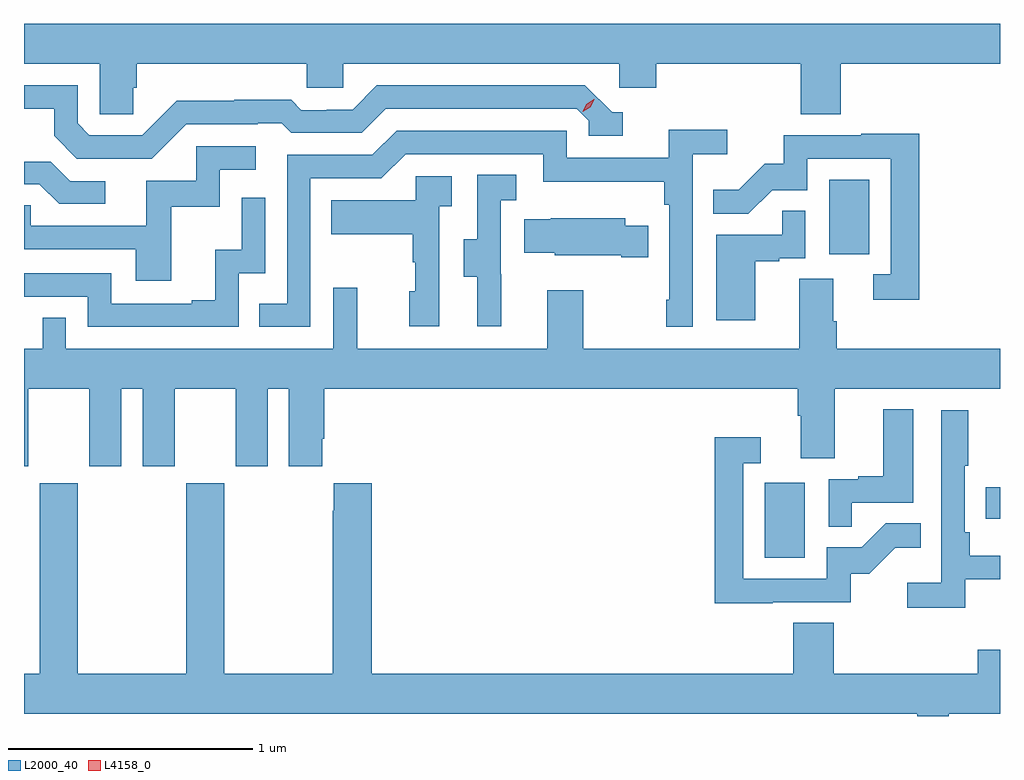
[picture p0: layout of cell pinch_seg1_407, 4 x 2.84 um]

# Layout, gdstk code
import gdstk
lib = gdstk.Library(unit=1e-6, precision=1e-09)
def R(c, l, rs):  # rectangles x0, y0, x1, y1
    for r in rs: c.add(gdstk.rectangle(r[:2], r[2:], *l))
def P(c, l, *ps):  # polygons
    for p in ps: c.add(gdstk.Polygon(p, *l))
L2000_40 = (2000, 40)
L4158_0 = (4158, 0)

pinch_seg1_407 = lib.new_cell('pinch_seg1_407')
R(pinch_seg1_407, L2000_40, [(950.312,528.396,950.476,528.703), (951.217,528.554,951.276,528.684), (950.576,529.638,950.74,529.945)])
P(pinch_seg1_407, L2000_40, [(947.723,530.322),(947.738,530.322),(947.738,530.42),(948.435,530.42),(948.435,530.322),(948.585,530.322),(948.585,530.42),(949.716,530.42),(949.716,530.322),(949.868,530.322),(949.868,530.42),(950.459,530.42),(950.459,530.212),(950.624,530.212),(950.624,530.42),(951.276,530.42),(951.276,530.584),(947.276,530.584),(947.276,530.42),(947.586,530.42),(947.586,530.212),(947.723,530.212)],
  [(947.94,530.172),(948.233,530.172),(948.233,530.175),(948.332,530.175),(948.371,530.136),(948.66,530.136),(948.759,530.235),(949.542,530.235),(949.59,530.187),(949.59,530.124),(949.729,530.124),(949.729,530.22),(949.686,530.22),(949.575,530.331),(948.722,530.331),(948.623,530.232),(948.516,530.232),(948.516,530.229),(948.413,530.229),(948.371,530.272),(948.138,530.272),(948.138,530.269),(947.902,530.269),(947.76,530.127),(947.544,530.127),(947.496,530.175),(947.496,530.331),(947.276,530.331),(947.276,530.235),(947.399,530.235),(947.399,530.125),(947.493,530.031),(947.799,530.031)],
  [(948.45,529.95),(948.741,529.95),(948.84,530.049),(949.404,530.049),(949.404,529.937),(949.9,529.937),(949.9,529.841),(949.92,529.841),(949.92,529.453),(949.908,529.453),(949.908,529.341),(950.016,529.341),(950.016,530.048),(950.158,530.048),(950.158,530.15),(949.919,530.15),(949.919,530.034),(949.5,530.034),(949.5,530.145),(948.803,530.145),(948.704,530.046),(948.354,530.046),(948.354,529.437),(948.241,529.437),(948.241,529.341),(948.45,529.341)],
  [(950.945,530.132),(950.707,530.132),(950.707,530.127),(950.389,530.127),(950.389,530.01),(950.312,530.01),(950.205,529.903),(950.101,529.903),(950.101,529.804),(950.245,529.804),(950.343,529.902),(950.487,529.902),(950.487,530.031),(950.829,530.031),(950.829,529.557),(950.757,529.557),(950.757,529.452),(950.945,529.452)],
  [(947.879,529.833),(948.078,529.833),(948.078,529.986),(948.226,529.986),(948.226,530.082),(947.982,530.082),(947.982,529.941),(947.777,529.941),(947.777,529.755),(947.303,529.755),(947.303,529.839),(947.276,529.839),(947.276,529.659),(947.735,529.659),(947.735,529.53),(947.879,529.53)],
  [(947.608,529.938),(947.466,529.938),(947.386,530.018),(947.276,530.018),(947.276,529.926),(947.339,529.926),(947.42,529.845),(947.608,529.845)],
  [(949.232,529.557),(949.23,529.557),(949.23,529.861),(949.294,529.861),(949.294,529.964),(949.134,529.964),(949.134,529.701),(949.079,529.701),(949.079,529.546),(949.133,529.546),(949.133,529.344),(949.232,529.344)],
  [(948.978,529.835),(949.03,529.835),(949.03,529.959),(948.882,529.959),(948.882,529.861),(948.535,529.861),(948.535,529.721),(948.87,529.721),(948.87,529.607),(948.88,529.607),(948.88,529.488),(948.854,529.488),(948.854,529.344),(948.978,529.344)],
  [(948.156,529.56),(948.264,529.56),(948.264,529.87),(948.168,529.87),(948.168,529.658),(948.059,529.658),(948.059,529.45),(947.963,529.45),(947.963,529.437),(947.634,529.437),(947.634,529.56),(947.276,529.56),(947.276,529.464),(947.538,529.464),(947.538,529.341),(948.156,529.341)],
  [(950.272,529.611),(950.372,529.611),(950.372,529.623),(950.478,529.623),(950.478,529.817),(950.383,529.817),(950.383,529.719),(950.114,529.719),(950.114,529.368),(950.272,529.368)],
  [(949.835,529.756),(949.741,529.756),(949.741,529.786),(949.435,529.786),(949.435,529.783),(949.327,529.783),(949.327,529.646),(949.452,529.646),(949.452,529.634),(949.724,529.634),(949.724,529.627),(949.835,529.627)],
  [(947.293,529.088),(947.543,529.088),(947.543,528.771),(947.674,528.771),(947.674,529.088),(947.762,529.088),(947.762,528.771),(947.893,528.771),(947.893,529.088),(948.143,529.088),(948.143,528.771),(948.274,528.771),(948.274,529.088),(948.362,529.088),(948.362,528.771),(948.499,528.771),(948.499,528.883),(948.506,528.883),(948.506,529.088),(950.447,529.088),(950.447,528.976),(950.459,528.976),(950.459,528.802),(950.599,528.802),(950.599,529.088),(951.276,529.088),(951.276,529.252),(950.606,529.252),(950.606,529.364),(950.593,529.364),(950.593,529.538),(950.453,529.538),(950.453,529.252),(949.569,529.252),(949.569,529.492),(949.421,529.492),(949.421,529.252),(948.641,529.252),(948.641,529.501),(948.543,529.501),(948.543,529.252),(947.448,529.252),(947.448,529.379),(947.352,529.379),(947.352,529.252),(947.276,529.252),(947.276,528.771),(947.293,528.771)],
  [(950.669,528.621),(950.92,528.621),(950.92,529.003),(950.798,529.003),(950.798,528.73),(950.695,528.73),(950.695,528.717),(950.574,528.717),(950.574,528.523),(950.669,528.523)],
  [(951.134,528.306),(951.276,528.306),(951.276,528.403),(951.152,528.403),(951.152,528.499),(951.132,528.499),(951.132,528.772),(951.145,528.772),(951.145,529),(951.036,529),(951.036,528.292),(950.895,528.292),(950.895,528.19),(951.134,528.19)],
  [(950.345,528.213),(950.664,528.213),(950.664,528.33),(950.74,528.33),(950.847,528.437),(950.951,528.437),(950.951,528.536),(950.808,528.536),(950.71,528.438),(950.565,528.438),(950.565,528.309),(950.223,528.309),(950.223,528.783),(950.296,528.783),(950.296,528.889),(950.107,528.889),(950.107,528.208),(950.345,528.208)],
  [(951.065,527.756),(951.276,527.756),(951.276,528.018),(951.185,528.018),(951.185,527.92),(950.594,527.92),(950.594,528.128),(950.429,528.128),(950.429,527.92),(948.701,527.92),(948.701,528.7),(948.545,528.7),(948.545,528.587),(948.541,528.587),(948.541,527.92),(948.096,527.92),(948.096,528.7),(947.941,528.7),(947.941,527.92),(947.496,527.92),(947.496,528.7),(947.341,528.7),(947.341,527.92),(947.276,527.92),(947.276,527.756),(950.937,527.756),(950.937,527.745),(951.065,527.745)])
P(pinch_seg1_407, L4158_0, [(949.565,530.222),(949.565,530.222),(949.581,530.254),(949.612,530.274),(949.613,530.274),(949.613,530.273),(949.596,530.241),(949.565,530.222)])

lib.write_gds('pinch_seg1_407.gds')
